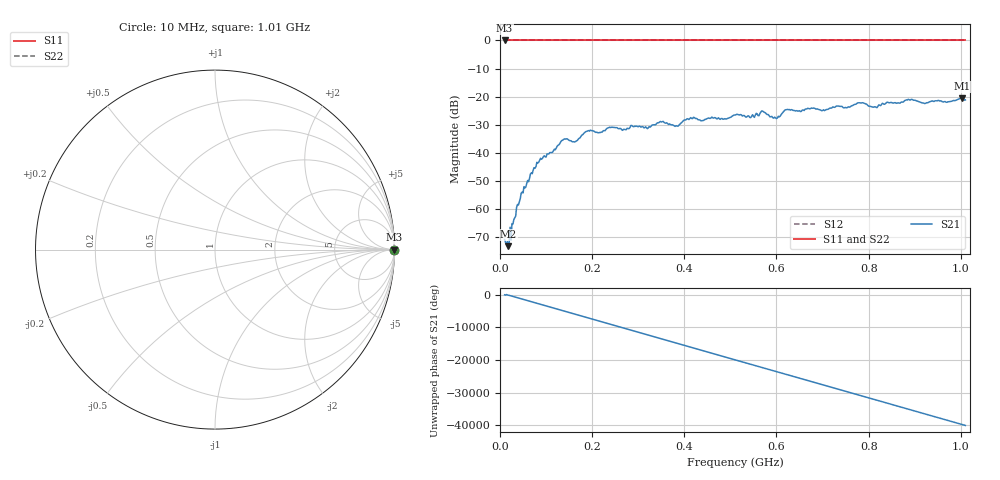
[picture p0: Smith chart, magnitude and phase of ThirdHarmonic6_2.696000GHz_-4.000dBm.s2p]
! 8/17/2025 6:25:28 AM
! C:\ANRITSUVNA\TEMP\TEMP.S2P
! CHANNEL.1
! TR.MEASUREMENT
! RAW.DATA
! RF.CORRECTION.OFF
! AVERAGING.OFF
! IF.BANDWIDTH: 5KHZ
! SWEEPTYPE:  FREQ.SWEEP(Linear)
! Reference Plane Port Info
! PORT:  PORT1  PORT2
! DISTANCE:  0  m  0  m
! TIME:  0  s  0  s
! PHASE.OFFSET:  0  deg.  0  deg.
! LOSS:  0  dB  0  dB
! REF.LOSS:  0  dB  0  dB
! REF.FREQ:  0  Hz  0  Hz
! Power Info
! POWER:  -20  dBm  -20  dBm
! EFF.POWER:  -20  dBm  -20  dBm
! SOURCE.ATTEN:  0  dB  0  dB
! TEST.ATTEN:  0  dB  0  dB
# GHZ S RI R 50.0
! FREQ.GHZ  S11RE  S11IM  S21RE  S21IM  S12RE  S12IM  S22RE  S22IM
!; PortSelection: Port_12
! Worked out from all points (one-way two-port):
!   501 points, 10 MHz to 1.01 GHz, reference 50 ohm
!   highest |S21| = -20.52 dB at 1.002 GHz (marker M1); lowest = -73.2 dB at 18 MHz (marker M2)
!   lowest |S11| = 0.0 dB at 10 MHz (marker M3)
!   |S11| at or under -10 dB: nowhere
!   |S22| runs from 0.0 to 0.0 dB; largest |S21 - S12| = 1.1
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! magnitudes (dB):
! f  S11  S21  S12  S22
! 10 MHz  0.0  -70.8  0.0  0.0
! 18 MHz  0.0  -73.2  0.0  0.0
! 48 MHz  0.0  -54.0  0.0  0.0
! 84 MHz  0.0  -43.3  0.0  0.0
! 136 MHz  0.0  -35.5  0.0  0.0
! 162 MHz  0.0  -36.1  0.0  0.0
! 178 MHz  0.0  -33.6  0.0  0.0
! 194 MHz  0.0  -32.3  0.0  0.0
! 344 MHz  0.0  -29.3  0.0  0.0
! 384 MHz  0.0  -30.4  0.0  0.0
! 416 MHz  0.0  -27.8  0.0  0.0
! 510 MHz  0.0  -26.5  0.0  0.0
! 548 MHz  0.0  -26.4  0.0  0.0
! 570 MHz  0.0  -25.2  0.0  0.0
! 598 MHz  0.0  -27.6  0.0  0.0
! 622 MHz  0.0  -24.6  0.0  0.0
! 678 MHz  0.0  -24.1  0.0  0.0
! 782 MHz  0.0  -22.2  0.0  0.0
! 814 MHz  0.0  -23.6  0.0  0.0
! 844 MHz  0.0  -22.2  0.0  0.0
! 1.002 GHz  0.0  -20.5  0.0  0.0
! 1.01 GHz  0.0  -21.2  0.0  0.0
